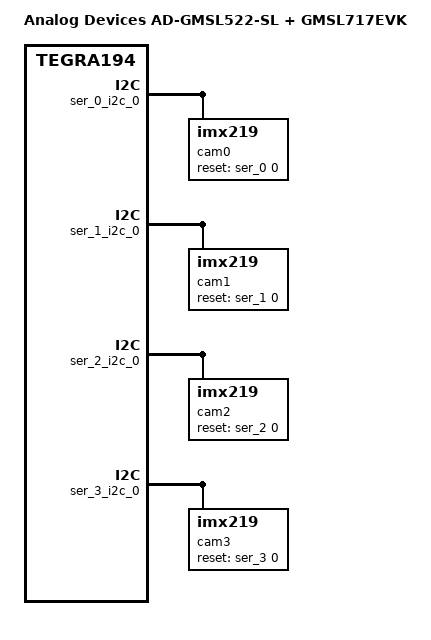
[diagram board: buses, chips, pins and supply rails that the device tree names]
// SPDX-License-Identifier: GPL-2.0
/*
 * Copyright (C) 2025 Analog Devices Inc.
 */

/dts-v1/;

#define GMSL
#define GMSL_TEGRA_PLATFORM

#define GMSL_TEGRA_PORT			4

#define GMSL_DES_PHY			2
#define GMSL_DES_PHY_NUM_LANES	4
#define GMSL_DES_LANE_RATE		2500000000

#define GMSL_CAMERA_NUM			4
#define GMSL_DES_MAX96724
#define GMSL_SER_0_MAX96717
#define GMSL_SER_1_MAX96717
#define GMSL_SER_2_MAX96717
#define GMSL_SER_3_MAX96717
#define GMSL_CAM_0_TEGRA_IMX219
#define GMSL_CAM_1_TEGRA_IMX219
#define GMSL_CAM_2_TEGRA_IMX219
#define GMSL_CAM_3_TEGRA_IMX219

#define GMSL_DES_I2C_LABEL		gen2_i2c

#include "tegra194-p3668-0001-gmsl522-revb-gmsl.dtsi"

/ {
	model = "Analog Devices AD-GMSL522-SL + GMSL717EVK";
};

/* Undefined after including GMSL dts. */
#define GMSL_DES_PHY			2
#define GMSL_CAMERA_NUM			4

#include "common/tegra194-gmsl522-reva-gmsl-imx219.dtsi"
#include <dt-bindings/gpio/gpio.h>

&ser_0_i2c_0 {
	cam0: imx219@0x10 {
		reset-gpios = <&ser_0 0 GPIO_ACTIVE_HIGH>;
	};
};

&ser_1_i2c_0 {
	cam1: imx219@0x10 {
		reset-gpios = <&ser_1 0 GPIO_ACTIVE_HIGH>;
	};
};

&ser_2_i2c_0 {
	cam2: imx219@0x10 {
		reset-gpios = <&ser_2 0 GPIO_ACTIVE_HIGH>;
	};
};

&ser_3_i2c_0 {
	cam3: imx219@0x10 {
		reset-gpios = <&ser_3 0 GPIO_ACTIVE_HIGH>;
	};
};

